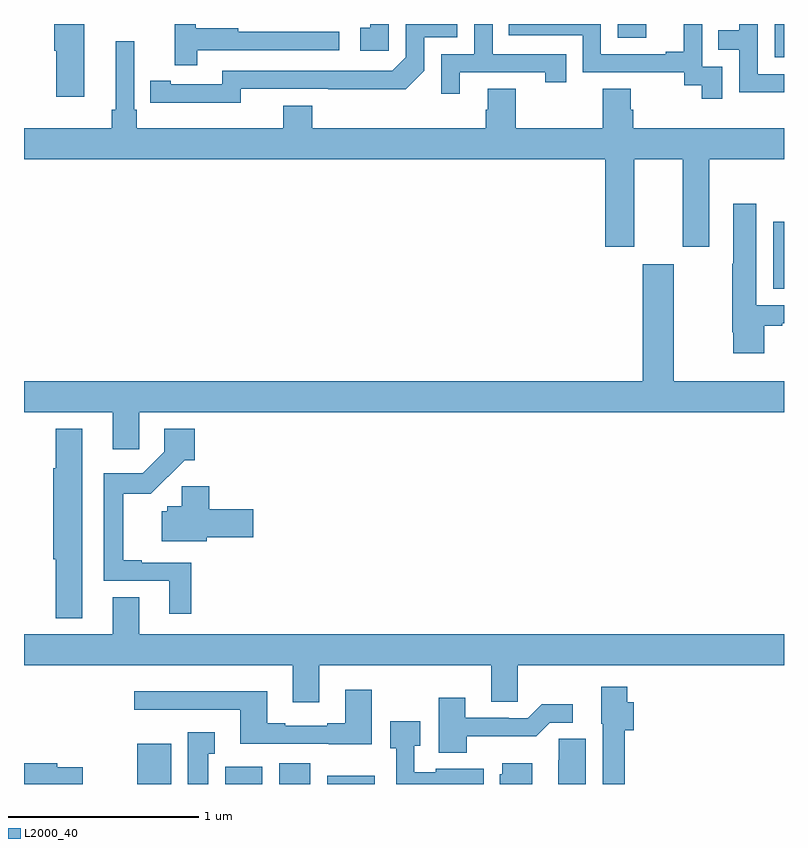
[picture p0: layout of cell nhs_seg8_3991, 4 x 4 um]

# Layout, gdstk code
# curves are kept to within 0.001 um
import gdstk
lib = gdstk.Library(unit=1e-6, precision=1e-09)
def R(c, l, rs):  # rectangles x0, y0, x1, y1
    for r in rs: c.add(gdstk.rectangle(r[:2], r[2:], *l))
def P(c, l, *ps):  # polygons
    for p in ps: c.add(gdstk.Polygon(p, *l))
L2000_40 = (2000, 40)

nhs_seg8_3991 = lib.new_cell('nhs_seg8_3991')
R(nhs_seg8_3991, L2000_40, [(357.596,1091.9,357.775,1092.112), (358.058,1091.9,358.255,1091.992), (358.343,1091.9,358.507,1092.01), (358.595,1091.9,358.846,1091.944), (360.944,1094.506,361,1094.86), (360.951,1095.726,361,1095.9), (360.126,1095.828,360.274,1095.9)])
P(nhs_seg8_3991, L2000_40, [(361,1095.636),(360.861,1095.636),(360.861,1095.9),(360.765,1095.9),(360.765,1095.866),(360.655,1095.866),(360.655,1095.765),(360.765,1095.765),(360.765,1095.54),(361,1095.54)],
  [(358.92,1095.9),(358.823,1095.9),(358.823,1095.879),(358.77,1095.879),(358.77,1095.759),(358.92,1095.759)],
  [(357.911,1095.762),(358.66,1095.762),(358.66,1095.858),(358.127,1095.858),(358.127,1095.878),(357.904,1095.878),(357.904,1095.9),(357.794,1095.9),(357.794,1095.684),(357.911,1095.684)],
  [(359.293,1095.645),(359.744,1095.645),(359.744,1095.594),(359.855,1095.594),(359.855,1095.741),(359.466,1095.741),(359.466,1095.9),(359.37,1095.9),(359.37,1095.741),(359.196,1095.741),(359.196,1095.534),(359.293,1095.534)],
  [(360.675,1095.675),(360.57,1095.675),(360.57,1095.9),(360.473,1095.9),(360.473,1095.754),(360.377,1095.754),(360.377,1095.741),(360.036,1095.741),(360.036,1095.9),(359.551,1095.9),(359.551,1095.84),(359.94,1095.84),(359.94,1095.645),(360.474,1095.645),(360.474,1095.577),(360.567,1095.577),(360.567,1095.507),(360.675,1095.507)],
  [(358.14,1095.558),(359.008,1095.557),(359.106,1095.654),(359.106,1095.831),(359.28,1095.831),(359.28,1095.9),(359.01,1095.9),(359.01,1095.726),(358.938,1095.654),(358.044,1095.654),(358.044,1095.582),(357.772,1095.582),(357.772,1095.602),(357.664,1095.602),(357.664,1095.486),(358.14,1095.485)],
  [(357.316,1095.9),(357.158,1095.9),(357.158,1095.759),(357.17,1095.759),(357.17,1095.516),(357.316,1095.516)],
  [(360.211,1095.188),(360.467,1095.188),(360.467,1094.727),(360.607,1094.727),(360.607,1095.188),(361,1095.188),(361,1095.352),(360.206,1095.352),(360.206,1095.45),(360.193,1095.45),(360.193,1095.56),(360.046,1095.56),(360.046,1095.352),(359.589,1095.352),(359.589,1095.56),(359.441,1095.56),(359.441,1095.45),(359.429,1095.45),(359.429,1095.352),(358.517,1095.352),(358.517,1095.469),(358.364,1095.469),(358.364,1095.352),(357.593,1095.352),(357.593,1095.448),(357.579,1095.448),(357.579,1095.808),(357.482,1095.808),(357.482,1095.448),(357.463,1095.448),(357.463,1095.352),(357,1095.352),(357,1095.188),(360.059,1095.188),(360.059,1094.727),(360.211,1094.727)],
  [(360.895,1094.313),(360.991,1094.313),(360.991,1094.325),(361,1094.325),(361,1094.421),(360.853,1094.421),(360.853,1094.953),(360.734,1094.953),(360.734,1094.639),(360.727,1094.639),(360.727,1094.278),(360.734,1094.278),(360.734,1094.166),(360.895,1094.166)],
  [(357.606,1093.856),(361,1093.856),(361,1094.02),(360.421,1094.02),(360.421,1094.635),(360.257,1094.635),(360.257,1094.02),(357,1094.02),(357,1093.856),(357.467,1093.856),(357.467,1093.662),(357.606,1093.662)],
  [(357.881,1093.065),(357.619,1093.065),(357.619,1093.078),(357.523,1093.078),(357.523,1093.427),(357.667,1093.427),(357.845,1093.604),(357.899,1093.604),(357.899,1093.771),(357.738,1093.771),(357.738,1093.65),(357.624,1093.536),(357.419,1093.536),(357.419,1092.969),(357.764,1092.969),(357.764,1092.795),(357.881,1092.795)],
  [(357.307,1093.771),(357.167,1093.771),(357.167,1093.561),(357.155,1093.561),(357.155,1093.083),(357.167,1093.083),(357.167,1092.773),(357.307,1092.773)],
  [(357.961,1093.199),(358.207,1093.199),(358.207,1093.346),(357.974,1093.346),(357.974,1093.467),(357.829,1093.467),(357.829,1093.362),(357.753,1093.362),(357.753,1093.335),(357.725,1093.335),(357.725,1093.178),(357.961,1093.178)],
  [(358.555,1092.524),(359.459,1092.524),(359.459,1092.334),(359.598,1092.334),(359.598,1092.524),(361,1092.524),(361,1092.688),(357.607,1092.688),(357.607,1092.883),(357.467,1092.883),(357.467,1092.688),(357,1092.688),(357,1092.524),(358.415,1092.524),(358.415,1092.33),(358.555,1092.33)],
  [(360.161,1092.182),(360.209,1092.182),(360.209,1092.33),(360.174,1092.33),(360.174,1092.412),(360.038,1092.412),(360.038,1092.216),(360.045,1092.216),(360.045,1091.9),(360.161,1091.9)],
  [(358.831,1092.397),(358.691,1092.397),(358.691,1092.22),(358.595,1092.22),(358.595,1092.207),(358.375,1092.207),(358.375,1092.22),(358.279,1092.22),(358.279,1092.388),(357.579,1092.388),(357.579,1092.291),(358.139,1092.291),(358.139,1092.111),(358.603,1092.111),(358.603,1092.11),(358.831,1092.11)],
  [(359.331,1092.152),(359.695,1092.152),(359.766,1092.222),(359.887,1092.222),(359.887,1092.319),(359.725,1092.319),(359.652,1092.246),(359.552,1092.246),(359.552,1092.249),(359.323,1092.249),(359.323,1092.355),(359.183,1092.355),(359.183,1092.065),(359.331,1092.065)],
  [(359.42,1091.98),(359.166,1091.98),(359.166,1091.961),(359.055,1091.961),(359.055,1092.101),(359.086,1092.101),(359.086,1092.231),(358.928,1092.231),(358.928,1092.089),(358.959,1092.089),(358.959,1091.9),(359.42,1091.9)],
  [(357.97,1092.059),(358.003,1092.059),(358.003,1092.172),(357.863,1092.172),(357.863,1091.9),(357.97,1091.9)],
  [(359.956,1092.137),(359.814,1092.137),(359.814,1092.026),(359.813,1092.026),(359.813,1091.9),(359.956,1091.9)],
  [(359.674,1092.01),(359.516,1092.01),(359.516,1091.952),(359.505,1091.952),(359.505,1091.9),(359.674,1091.9)],
  [(357.31,1091.988),(357.176,1091.988),(357.176,1092.008),(357,1092.008),(357,1091.9),(357.31,1091.9)])

lib.write_gds('nhs_seg8_3991.gds')
